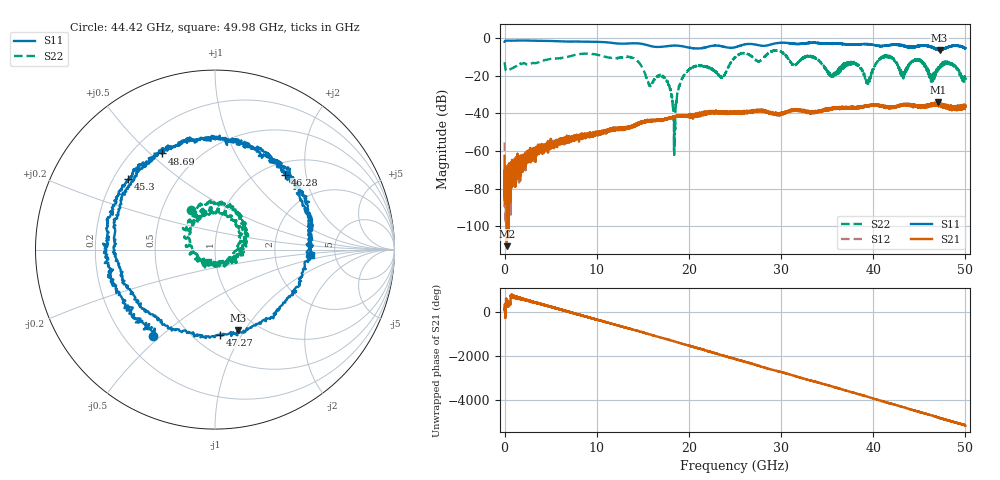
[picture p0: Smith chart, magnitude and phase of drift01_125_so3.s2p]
!Created with skrf (http://scikit-rf.org).
# Hz S RI R 50.0
!freq ReS11 ImS11 ReS21 ImS21 ReS12 ImS12 ReS22 ImS22
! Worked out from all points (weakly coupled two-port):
!   10001 points, 300 kHz to 50 GHz, reference 50 ohm
!   highest |S21| = -34.01 dB at 47.01 GHz (marker M1); lowest = -110.5 dB at 240.3 MHz (marker M2)
!   lowest |S11| = -6.6 dB at 47.2 GHz (marker M3), VSWR 2.75, Z = 40.5 - j46.5 ohm
!   |S11| at or under -10 dB: nowhere
!   |S22| runs from -62.1 to -6.7 dB; largest |S21 - S12| = 0.0041
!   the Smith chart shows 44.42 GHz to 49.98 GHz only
!   S11 on the Smith chart (normalised r, x): 44.42 GHz: 0.31, -0.47; 45.3 GHz: 0.26, +0.33; 46.28 GHz: 1.24, +1.53; 47.27 GHz: 0.66, -0.81; 48.69 GHz: 0.32, +0.55; 49.98 GHz: 3.27, -0.28
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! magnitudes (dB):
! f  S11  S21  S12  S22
! 300 kHz  -2.1  -62.6  -55.4  -12.9
! 240.3 MHz  -1.4  -110.5  -74.7  -17.5
! 8.335 GHz  -1.9  -52.9  -52.0  -8.5
! 16.67 GHz  -4.8  -43.8  -43.7  -20.0
! 17.74 GHz  -4.4  -42.9  -42.7  -24.2
! 18.44 GHz  -4.1  -41.7  -41.6  -45.4
! 19.95 GHz  -5.0  -41.5  -41.3  -17.2
! 23.61 GHz  -4.5  -39.5  -39.2  -20.6
! 25 GHz  -5.0  -39.7  -39.6  -10.3
! 33.34 GHz  -2.6  -39.9  -39.4  -9.9
! 39.45 GHz  -3.3  -36.0  -36.2  -23.9
! 41.67 GHz  -3.9  -36.9  -36.7  -9.8
! 43.19 GHz  -4.1  -35.4  -35.7  -19.3
! 44.42 GHz  -4.5  -35.9  -35.9  -11.8
! 45.3 GHz  -4.1  -36.4  -36.5  -12.7
! 46.28 GHz  -4.9  -35.7  -35.6  -21.7
! 47.01 GHz  -6.2  -34.0  -35.1  -16.0
! 47.2 GHz  -6.6  -35.7  -35.3  -14.6
! 47.27 GHz  -6.5  -35.6  -35.6  -15.8
! 48.69 GHz  -4.3  -38.1  -36.5  -14.2
! 49.98 GHz  -5.4  -36.3  -36.6  -21.9
! 50 GHz  -5.4  -36.5  -36.9  -22.1
